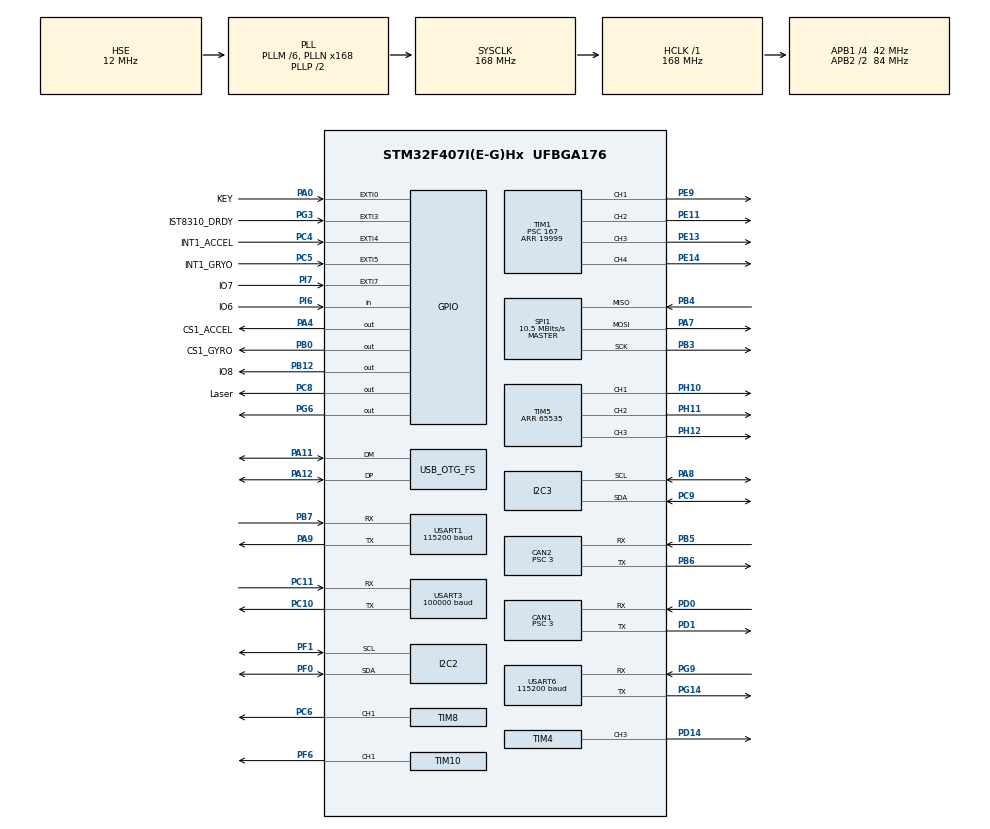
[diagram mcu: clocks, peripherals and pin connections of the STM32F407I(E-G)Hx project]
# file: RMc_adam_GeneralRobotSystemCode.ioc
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CAN1.BS1=CAN_BS1_10TQ
CAN1.BS2=CAN_BS2_3TQ
CAN1.CalculateBaudRate=1000000
CAN1.CalculateTimeBit=1000
CAN1.CalculateTimeQuantum=71.42857142857143
CAN1.Prescaler=3
CAN2.BS1=CAN_BS1_10TQ
CAN2.BS2=CAN_BS2_3TQ
CAN2.CalculateBaudRate=1000000
CAN2.CalculateTimeBit=1000
CAN2.CalculateTimeQuantum=71.42857142857143
CAN2.Prescaler=3
Dma.Request0=USART3_RX
Dma.Request1=USART1_RX
Dma.Request2=USART1_TX
Dma.Request3=SPI1_RX
Dma.Request4=SPI1_TX
Dma.Request5=USART6_RX
Dma.Request6=USART6_TX
Dma.SPI1_RX.3.Direction=DMA_PERIPH_TO_MEMORY
Dma.SPI1_RX.3.FIFOMode=DMA_FIFOMODE_DISABLE
Dma.SPI1_RX.3.Instance=DMA2_Stream0
Dma.SPI1_RX.3.MemDataAlignment=DMA_MDATAALIGN_BYTE
Dma.SPI1_RX.3.MemInc=DMA_MINC_ENABLE
Dma.SPI1_RX.3.Mode=DMA_NORMAL
Dma.SPI1_RX.3.PeriphDataAlignment=DMA_PDATAALIGN_BYTE
Dma.SPI1_RX.3.PeriphInc=DMA_PINC_DISABLE
Dma.SPI1_RX.3.Priority=DMA_PRIORITY_VERY_HIGH
Dma.SPI1_TX.4.Direction=DMA_MEMORY_TO_PERIPH
Dma.SPI1_TX.4.FIFOMode=DMA_FIFOMODE_DISABLE
Dma.SPI1_TX.4.Instance=DMA2_Stream3
Dma.SPI1_TX.4.MemDataAlignment=DMA_MDATAALIGN_BYTE
Dma.SPI1_TX.4.MemInc=DMA_MINC_ENABLE
Dma.SPI1_TX.4.Mode=DMA_NORMAL
Dma.SPI1_TX.4.PeriphDataAlignment=DMA_PDATAALIGN_BYTE
Dma.SPI1_TX.4.PeriphInc=DMA_PINC_DISABLE
Dma.SPI1_TX.4.Priority=DMA_PRIORITY_VERY_HIGH
Dma.USART1_RX.1.Direction=DMA_PERIPH_TO_MEMORY
Dma.USART1_RX.1.FIFOMode=DMA_FIFOMODE_DISABLE
Dma.USART1_RX.1.Instance=DMA2_Stream5
Dma.USART1_RX.1.MemDataAlignment=DMA_MDATAALIGN_BYTE
Dma.USART1_RX.1.MemInc=DMA_MINC_ENABLE
Dma.USART1_RX.1.Mode=DMA_NORMAL
Dma.USART1_RX.1.PeriphDataAlignment=DMA_PDATAALIGN_BYTE
Dma.USART1_RX.1.PeriphInc=DMA_PINC_DISABLE
Dma.USART1_RX.1.Priority=DMA_PRIORITY_MEDIUM
Dma.USART1_TX.2.Direction=DMA_MEMORY_TO_PERIPH
Dma.USART1_TX.2.FIFOMode=DMA_FIFOMODE_DISABLE
Dma.USART1_TX.2.Instance=DMA2_Stream7
Dma.USART1_TX.2.MemDataAlignment=DMA_MDATAALIGN_BYTE
Dma.USART1_TX.2.MemInc=DMA_MINC_ENABLE
Dma.USART1_TX.2.Mode=DMA_NORMAL
Dma.USART1_TX.2.PeriphDataAlignment=DMA_PDATAALIGN_BYTE
Dma.USART1_TX.2.PeriphInc=DMA_PINC_DISABLE
Dma.USART1_TX.2.Priority=DMA_PRIORITY_MEDIUM
Dma.USART3_RX.0.Direction=DMA_PERIPH_TO_MEMORY
Dma.USART3_RX.0.FIFOMode=DMA_FIFOMODE_DISABLE
Dma.USART3_RX.0.Instance=DMA1_Stream1
Dma.USART3_RX.0.MemDataAlignment=DMA_MDATAALIGN_BYTE
Dma.USART3_RX.0.MemInc=DMA_MINC_ENABLE
Dma.USART3_RX.0.Mode=DMA_CIRCULAR
Dma.USART3_RX.0.PeriphDataAlignment=DMA_PDATAALIGN_BYTE
Dma.USART3_RX.0.PeriphInc=DMA_PINC_DISABLE
Dma.USART3_RX.0.Priority=DMA_PRIORITY_VERY_HIGH
Dma.USART6_RX.5.Direction=DMA_PERIPH_TO_MEMORY
Dma.USART6_RX.5.FIFOMode=DMA_FIFOMODE_DISABLE
Dma.USART6_RX.5.Instance=DMA2_Stream2
Dma.USART6_RX.5.MemDataAlignment=DMA_MDATAALIGN_BYTE
Dma.USART6_RX.5.MemInc=DMA_MINC_ENABLE
Dma.USART6_RX.5.Mode=DMA_NORMAL
Dma.USART6_RX.5.PeriphDataAlignment=DMA_PDATAALIGN_BYTE
Dma.USART6_RX.5.PeriphInc=DMA_PINC_DISABLE
Dma.USART6_RX.5.Priority=DMA_PRIORITY_HIGH
Dma.USART6_TX.6.Direction=DMA_MEMORY_TO_PERIPH
Dma.USART6_TX.6.FIFOMode=DMA_FIFOMODE_DISABLE
Dma.USART6_TX.6.Instance=DMA2_Stream6
Dma.USART6_TX.6.MemDataAlignment=DMA_MDATAALIGN_BYTE
Dma.USART6_TX.6.MemInc=DMA_MINC_ENABLE
Dma.USART6_TX.6.Mode=DMA_NORMAL
Dma.USART6_TX.6.PeriphDataAlignment=DMA_PDATAALIGN_BYTE
Dma.USART6_TX.6.PeriphInc=DMA_PINC_DISABLE
Dma.USART6_TX.6.Priority=DMA_PRIORITY_HIGH
FREERTOS.Tasks01=Flash_LED_Task,8,128,Flash_LED_Task_callback,Default,NULL,Dynamic,NULL,NULL;CAN_sendTask,55,256,CAN_sendTask_callback,Default,NULL,Dynamic,NULL,NULL;RemoteTask,48,1024,RemoteTask_callback,Default,NULL,Dynamic,NULL,NULL;ChassisTask,16,512,ChassisTask_callback,Default,NULL,Dynamic,NULL,NULL;GimbalTask,48,128,GimbalTask_callback,Default,NULL,Dynamic,NULL,NULL;ErrorDetectTask,16,128,ErrorDetectTask_callback,Default,NULL,Dynamic,NULL,NULL;RefereeTask,16,1024,RefereeTask_callback,Default,NULL,Dynamic,NULL,NULL;UI_Refresh,8,256,UI_Refresh_callback,Default,NULL,Dynamic,NULL,NULL
FREERTOS.configENABLE_FPU=1
FREERTOS.configMAX_TASK_NAME_LEN=32
FREERTOS.configUSE_IDLE_HOOK=1
I2C2.I2C_Mode=I2C_Fast
I2C3.I2C_Mode=I2C_Fast
IWDG.Prescaler=IWDG_PRESCALER_16
Mcu.Family=STM32F4
Mcu.Name=STM32F407I(E-G)Hx
Mcu.Package=UFBGA176
NVIC.CAN1_RX0_IRQn=true\:5\:0\:false\:false\:true\:true\:true\:true\:true
NVIC.CAN2_RX0_IRQn=true\:5\:0\:false\:false\:true\:true\:true\:true\:true
NVIC.DMA1_Stream1_IRQn=true\:5\:0\:false\:false\:true\:true\:false\:true\:true
NVIC.DMA2_Stream0_IRQn=true\:5\:0\:false\:false\:true\:false\:false\:true\:true
NVIC.DMA2_Stream2_IRQn=true\:5\:0\:false\:false\:true\:false\:false\:true\:true
NVIC.DMA2_Stream3_IRQn=true\:5\:0\:false\:false\:true\:true\:false\:true\:true
NVIC.DMA2_Stream5_IRQn=true\:5\:0\:false\:false\:true\:false\:false\:true\:true
NVIC.DMA2_Stream6_IRQn=true\:5\:0\:false\:false\:true\:true\:false\:true\:true
NVIC.DMA2_Stream7_IRQn=true\:5\:0\:false\:false\:true\:true\:false\:true\:true
NVIC.EXTI0_IRQn=true\:5\:0\:false\:false\:true\:true\:true\:true\:true
NVIC.EXTI9_5_IRQn=true\:5\:0\:false\:false\:true\:true\:true\:true\:true
NVIC.OTG_FS_IRQn=true\:5\:0\:false\:false\:true\:true\:false\:true\:true
NVIC.PriorityGroup=NVIC_PRIORITYGROUP_4
NVIC.TIM2_IRQn=true\:15\:0\:false\:false\:true\:false\:false\:true\:true
NVIC.TIM8_TRG_COM_TIM14_IRQn=true\:5\:0\:false\:false\:true\:false\:true\:true\:true
NVIC.TIM8_UP_TIM13_IRQn=true\:5\:0\:false\:false\:true\:true\:true\:true\:true
NVIC.TimeBase=TIM2_IRQn
NVIC.TimeBaseIP=TIM2
NVIC.USART1_IRQn=true\:5\:0\:false\:false\:true\:false\:true\:true\:true
NVIC.USART3_IRQn=true\:5\:0\:false\:false\:true\:false\:true\:true\:true
NVIC.USART6_IRQn=true\:5\:0\:false\:false\:true\:true\:true\:true\:true
NVIC.WWDG_IRQn=true\:5\:0\:false\:false\:true\:true\:true\:true\:true
PA0-WKUP.GPIO_Label=KEY
PA0-WKUP.GPIO_ModeDefaultEXTI=GPIO_MODE_IT_RISING
PA0-WKUP.GPIO_PuPd=GPIO_PULLDOWN
PA0-WKUP.Signal=GPXTI0
PA11.Mode=Device_Only
PA11.Signal=USB_OTG_FS_DM
PA12.Mode=Device_Only
PA12.Signal=USB_OTG_FS_DP
PA13.Mode=Serial_Wire
PA13.Signal=SYS_JTMS-SWDIO
PA14.Mode=Serial_Wire
PA14.Signal=SYS_JTCK-SWCLK
PA4.GPIO_Label=CS1_ACCEL
PA4.GPIO_PuPd=GPIO_PULLUP
PA4.GPIO_Speed=GPIO_SPEED_FREQ_VERY_HIGH
PA4.PinState=GPIO_PIN_SET
PA4.Signal=GPIO_Output
PA7.Mode=Full_Duplex_Master
PA7.Signal=SPI1_MOSI
PA8.GPIO_Pu=GPIO_PULLUP
PA8.Mode=I2C
PA8.Signal=I2C3_SCL
PA9.Mode=Asynchronous
PA9.Signal=USART1_TX
PB0.GPIO_Label=CS1_GYRO
PB0.GPIO_PuPd=GPIO_PULLUP
PB0.GPIO_Speed=GPIO_SPEED_FREQ_VERY_HIGH
PB0.PinState=GPIO_PIN_SET
PB0.Signal=GPIO_Output
PB12.GPIO_Label=IO8
PB12.Signal=GPIO_Output
PB3.Mode=Full_Duplex_Master
PB3.Signal=SPI1_SCK
PB4.Mode=Full_Duplex_Master
PB4.Signal=SPI1_MISO
PB5.Mode=CAN_Activate
PB5.Signal=CAN2_RX
PB6.Mode=CAN_Activate
PB6.Signal=CAN2_TX
PB7.Mode=Asynchronous
PB7.Signal=USART1_RX
PC10.Mode=Asynchronous
PC10.Signal=USART3_TX
PC11.Mode=Asynchronous
PC11.Signal=USART3_RX
PC4.GPIO_Label=INT1_ACCEL
PC4.GPIO_PuPd=GPIO_PULLUP
PC4.Signal=GPXTI4
PC5.GPIO_Label=INT1_GRYO
PC5.GPIO_PuPd=GPIO_PULLUP
PC5.Signal=GPXTI5
PC6.Signal=S_TIM8_CH1
PC8.GPIO_Label=Laser
PC8.GPIO_PuPd=GPIO_PULLUP
PC8.PinState=GPIO_PIN_RESET
PC8.Signal=GPIO_Output
PC9.GPIO_Pu=GPIO_PULLUP
PC9.Mode=I2C
PC9.Signal=I2C3_SDA
PD0.Mode=CAN_Activate
PD0.Signal=CAN1_RX
PD1.Mode=CAN_Activate
PD1.Signal=CAN1_TX
PD14.Signal=S_TIM4_CH3
PE11.Signal=S_TIM1_CH2
PE13.Signal=S_TIM1_CH3
PE14.Signal=S_TIM1_CH4
PE9.Signal=S_TIM1_CH1
PF0.GPIO_Pu=GPIO_PULLUP
PF0.Mode=I2C
PF0.Signal=I2C2_SDA
PF1.GPIO_Pu=GPIO_PULLUP
PF1.Mode=I2C
PF1.Signal=I2C2_SCL
PF6.GPIO_PuPd=GPIO_PULLUP
PF6.GPIO_Speed=GPIO_SPEED_FREQ_MEDIUM
PF6.Signal=S_TIM10_CH1
PG14.Mode=Asynchronous
PG14.Signal=USART6_TX
PG3.GPIO_Label=IST8310_DRDY
PG3.GPIO_ModeDefaultEXTI=GPIO_MODE_IT_FALLING
PG3.GPIO_PuPd=GPIO_PULLUP
PG3.Signal=GPXTI3
PG6.Signal=GPIO_Output
PG9.Mode=Asynchronous
PG9.Signal=USART6_RX
PH0-OSC_IN.Mode=HSE-External-Oscillator
PH0-OSC_IN.Signal=RCC_OSC_IN
PH1-OSC_OUT.Mode=HSE-External-Oscillator
PH1-OSC_OUT.Signal=RCC_OSC_OUT
PH10.Signal=S_TIM5_CH1
PH11.Signal=S_TIM5_CH2
PH12.Signal=S_TIM5_CH3
PI6.GPIO_Label=IO6
PI6.Signal=GPIO_Input
PI7.GPIO_Label=IO7
PI7.GPIO_ModeDefaultEXTI=GPIO_MODE_IT_RISING
PI7.GPIO_PuPd=GPIO_PULLDOWN
PI7.Signal=GPXTI7
ProjectManager.HeapSize=0x5000
ProjectManager.StackSize=0x2500
ProjectManager.TargetToolchain=MDK-ARM V5
RCC.48MHZClocksFreq_Value=48000000
RCC.AHBFreq_Value=168000000
RCC.APB1CLKDivider=RCC_HCLK_DIV4
RCC.APB1Freq_Value=42000000
RCC.APB1TimFreq_Value=84000000
RCC.APB2CLKDivider=RCC_HCLK_DIV2
RCC.APB2Freq_Value=84000000
RCC.APB2TimFreq_Value=168000000
RCC.CortexFreq_Value=168000000
RCC.HCLKFreq_Value=168000000
RCC.HSE_VALUE=12000000
RCC.HSI_VALUE=16000000
RCC.LSE_VALUE=32768
RCC.PLLM=6
RCC.PLLN=168
RCC.PLLQ=7
RCC.SYSCLKFreq_VALUE=168000000
RCC.SYSCLKSource=RCC_SYSCLKSOURCE_PLLCLK
RCC.VCOOutputFreq_Value=336000000
SH.S_TIM10_CH1.0=TIM10_CH1,PWM Generation1 CH1
SH.S_TIM1_CH1.0=TIM1_CH1,PWM Generation1 CH1
SH.S_TIM1_CH2.0=TIM1_CH2,PWM Generation2 CH2
SH.S_TIM1_CH3.0=TIM1_CH3,PWM Generation3 CH3
SH.S_TIM1_CH4.0=TIM1_CH4,PWM Generation4 CH4
SH.S_TIM4_CH3.0=TIM4_CH3,PWM Generation3 CH3
SH.S_TIM5_CH1.0=TIM5_CH1,PWM Generation1 CH1
SH.S_TIM5_CH2.0=TIM5_CH2,PWM Generation2 CH2
SH.S_TIM5_CH3.0=TIM5_CH3,PWM Generation3 CH3
SH.S_TIM8_CH1.0=TIM8_CH1,PWM Generation1 CH1
SPI1.BaudRatePrescaler=SPI_BAUDRATEPRESCALER_8
SPI1.CLKPhase=SPI_PHASE_2EDGE
SPI1.CLKPolarity=SPI_POLARITY_HIGH
SPI1.CalculateBaudRate=10.5 MBits/s
SPI1.Direction=SPI_DIRECTION_2LINES
SPI1.Mode=SPI_MODE_MASTER
SPI1.VirtualType=VM_MASTER
TIM1.AutoReloadPreload=TIM_AUTORELOAD_PRELOAD_ENABLE
TIM1.Channel-PWM\ Generation1\ CH1=TIM_CHANNEL_1
TIM1.Channel-PWM\ Generation2\ CH2=TIM_CHANNEL_2
TIM1.Channel-PWM\ Generation3\ CH3=TIM_CHANNEL_3
TIM1.Channel-PWM\ Generation4\ CH4=TIM_CHANNEL_4
TIM1.Period=19999
TIM1.Prescaler=167
TIM1.Pulse-PWM\ Generation1\ CH1=2000
TIM1.Pulse-PWM\ Generation2\ CH2=2000
TIM1.Pulse-PWM\ Generation3\ CH3=2000
TIM1.Pulse-PWM\ Generation4\ CH4=2000
TIM10.Channel=TIM_CHANNEL_1
TIM10.OC1Preload_PWM=ENABLE
TIM10.Period=5000-1
TIM13.AutoReloadPreload=TIM_AUTORELOAD_PRELOAD_ENABLE
TIM13.Period=100-1
TIM13.Prescaler=840-1
TIM14.AutoReloadPreload=TIM_AUTORELOAD_PRELOAD_ENABLE
TIM14.Period=500-1
TIM14.Prescaler=840-1
TIM4.Channel-PWM\ Generation3\ CH3=TIM_CHANNEL_3
TIM5.Channel-PWM\ Generation1\ CH1=TIM_CHANNEL_1
TIM5.Channel-PWM\ Generation2\ CH2=TIM_CHANNEL_2
TIM5.Channel-PWM\ Generation3\ CH3=TIM_CHANNEL_3
TIM5.OC3Preload_PWM=ENABLE
TIM5.Period=65535
TIM5.Pulse-PWM\ Generation1\ CH1=10000
TIM5.Pulse-PWM\ Generation2\ CH2=10000
TIM5.Pulse-PWM\ Generation3\ CH3=10000
TIM8.AutoReloadPreload=TIM_AUTORELOAD_PRELOAD_ENABLE
TIM8.Channel-PWM\ Generation1\ CH1=TIM_CHANNEL_1
TIM8.Period=19999
TIM8.Prescaler=167
TIM8.Pulse-PWM\ Generation1\ CH1=2000
USART1.BaudRate=115200
USART1.VirtualMode=VM_ASYNC
USART3.BaudRate=100000
USART3.Mode=MODE_TX_RX
USART3.VirtualMode=VM_ASYNC
USART6.BaudRate=115200
USART6.VirtualMode=VM_ASYNC
USB_DEVICE.CLASS_NAME_FS=CDC
USB_DEVICE.CONFIGURATION_STRING_CDC_FS=CDC config
USB_DEVICE.INTERFACE_STRING_CDC_FS=sethome
USB_DEVICE.PRODUCT_STRING_CDC_FS=Robomaster Adam
USB_DEVICE.VirtualMode-CDC_FS=Cdc
USB_DEVICE.VirtualModeFS=Cdc_FS
USB_OTG_FS.VirtualMode=Device_Only
VP_CRC_VS_CRC.Mode=CRC_Activate
VP_FREERTOS_VS_CMSIS_V2.Mode=CMSIS_V2
VP_IWDG_VS_IWDG.Mode=IWDG_Activate
VP_SYS_VS_tim2.Mode=TIM2
VP_TIM10_VS_ClockSourceINT.Mode=Enable_Timer
VP_TIM13_VS_ClockSourceINT.Mode=Enable_Timer
VP_TIM14_VS_ClockSourceINT.Mode=Enable_Timer
VP_TIM1_VS_ClockSourceINT.Mode=Internal
VP_TIM4_VS_ClockSourceINT.Mode=Internal
VP_TIM5_VS_ClockSourceINT.Mode=Internal
VP_TIM6_VS_ClockSourceINT.Mode=Enable_Timer
VP_TIM8_VS_ClockSourceINT.Mode=Internal
VP_USB_DEVICE_VS_USB_DEVICE_CDC_FS.Mode=CDC_FS
VP_WWDG_VS_WWDG.Mode=WWDG_Activate
WWDG.Counter=127
WWDG.EWIMode=WWDG_EWI_ENABLE
WWDG.Prescaler=WWDG_PRESCALER_8
WWDG.Window=126
board=custom

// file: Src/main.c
/* USER CODE BEGIN Header */
/**
 ******************************************************************************
 * @file           : main.c
 * @brief          : Main program body
 ******************************************************************************
 * @attention
 *
 * <h2><center>&copy; Copyright (c) 2019 STMicroelectronics.
 * All rights reserved.</center></h2>
 *
 * This software component is licensed by ST under BSD 3-Clause license,
 * the "License"; You may not use this file except in compliance with the
 * License. You may obtain a copy of the License at:
 *                        opensource.org/licenses/BSD-3-Clause
 *
 ******************************************************************************
 */
/* USER CODE END Header */
#include "main.h"
#include "cmsis_os.h"
#include "can.h"
#include "crc.h"
#include "dma.h"
#include "i2c.h"
#include "iwdg.h"
#include "spi.h"
#include "tim.h"
#include "usart.h"
#include "usb_device.h"
#include "wwdg.h"
#include "gpio.h"

/* USER CODE BEGIN Includes */
#include "CAN_receive&send.h"
#include "DBUS_remote_control.h"
#include "LED_control.h"
#include "PWM_control.h"
#include "IMU_updata.h"
#include "UART_data_transmit.h"
#include "NUC_communication.h"

#include "USB_VirCom.h"
#include "time.h"
#include "stdio.h"
#include "Laser.h"

#include "chassis_move.h"
#include "gimbal.h"

#include "shoot.h"
#include "Error_detect.h"
#include "Global_status.h"
#include "ui.h"
/* USER CODE END Includes */

/* USER CODE BEGIN PTD */
uint8_t tset_nums2 =1;
/* USER CODE END PTD */

/* USER CODE BEGIN PV */
unsigned int num;

/* USER CODE END PV */

void SystemClock_Config(void);
void MX_FREERTOS_Init(void);

int main(void)
{

  /* MCU Configuration--------------------------------------------------------*/

  /* Reset of all peripherals, Initializes the Flash interface and the Systick. */
  HAL_Init();

  /* USER CODE BEGIN Init */

	HAL_Delay(100);

  /* USER CODE END Init */

  /* Configure the system clock */
  SystemClock_Config();

  /* Initialize all configured peripherals */
  MX_GPIO_Init();
  MX_DMA_Init();
  MX_CAN1_Init();
  MX_CAN2_Init();
  MX_USART3_UART_Init();
  MX_USART1_UART_Init();
  MX_TIM5_Init();
  MX_TIM1_Init();
  MX_SPI1_Init();
  MX_TIM10_Init();
  MX_I2C3_Init();
  MX_TIM14_Init();
  MX_USART6_UART_Init();
  MX_I2C2_Init();
  MX_TIM8_Init();
  MX_CRC_Init();
  MX_TIM13_Init();
  MX_TIM4_Init();
  MX_IWDG_Init();
  MX_TIM6_Init();
  //MX_WWDG_Init();
  /* USER CODE BEGIN 2 */

  // 初始化各项应用
  led_init();       // LED
  led_show(RED); // 初始化指示
  //目前使用来激活相机图传
  HAL_GPIO_WritePin(Laser_GPIO_Port, Laser_Pin, GPIO_PIN_SET);	// Laser_init();
//  HAL_WWDG_Refresh(&hwwdg);
  // 初始化硬件
  can_filter_init();        // can 过滤器
  remote_control_init();    // 遥控器初始化
  PWM_servo_control_init(); // PWM
  IMU_init();            // IMU 加速度计，陀螺仪，地磁计
  uart_init();           // 初始化串口

	// 初始化软件
  chassis_move_init();       // 初始化底盘
  gimbal_init();             // 初始化云台
  gimbal_set_offset(0.0f,24.60f,-10.0f,-46.2f);
  shoot_init();        // 初始化发射机构

  Error_detect_init(); // 初始化错误检测
  referee_usart_task_init(); // 裁判系统解算
  ui_init();
  Kalman_Init();

  led_show(GREEN);     // 初始化完毕
  Global.mode=FLOW;
	Global.input.shoot_num=1;

  /* USER CODE END 2 */

  /* Init scheduler */
  osKernelInitialize();

  /* Call init function for freertos objects (in cmsis_os2.c) */
  MX_FREERTOS_Init();

  /* Start scheduler */
  osKernelStart();

  /* We should never get here as control is now taken by the scheduler */

  /* Infinite loop */
  while (1)
  {
  }

}

void SystemClock_Config(void)
{
  RCC_OscInitTypeDef RCC_OscInitStruct = {0};
  RCC_ClkInitTypeDef RCC_ClkInitStruct = {0};

  /** Configure the main internal regulator output voltage
  */
  __HAL_RCC_PWR_CLK_ENABLE();
  __HAL_PWR_VOLTAGESCALING_CONFIG(PWR_REGULATOR_VOLTAGE_SCALE1);

  /** Initializes the RCC Oscillators according to the specified parameters
  * in the RCC_OscInitTypeDef structure.
  */
  RCC_OscInitStruct.OscillatorType = RCC_OSCILLATORTYPE_LSI|RCC_OSCILLATORTYPE_HSE;
  RCC_OscInitStruct.HSEState = RCC_HSE_ON;
  RCC_OscInitStruct.LSIState = RCC_LSI_ON;
  RCC_OscInitStruct.PLL.PLLState = RCC_PLL_ON;
  RCC_OscInitStruct.PLL.PLLSource = RCC_PLLSOURCE_HSE;
  RCC_OscInitStruct.PLL.PLLM = 6;
  RCC_OscInitStruct.PLL.PLLN = 168;
  RCC_OscInitStruct.PLL.PLLP = RCC_PLLP_DIV2;
  RCC_OscInitStruct.PLL.PLLQ = 7;
  if (HAL_RCC_OscConfig(&RCC_OscInitStruct) != HAL_OK)
  {
    Error_Handler();
  }

  /** Initializes the CPU, AHB and APB buses clocks
  */
  RCC_ClkInitStruct.ClockType = RCC_CLOCKTYPE_HCLK|RCC_CLOCKTYPE_SYSCLK
                              |RCC_CLOCKTYPE_PCLK1|RCC_CLOCKTYPE_PCLK2;
  RCC_ClkInitStruct.SYSCLKSource = RCC_SYSCLKSOURCE_PLLCLK;
  RCC_ClkInitStruct.AHBCLKDivider = RCC_SYSCLK_DIV1;
  RCC_ClkInitStruct.APB1CLKDivider = RCC_HCLK_DIV4;
  RCC_ClkInitStruct.APB2CLKDivider = RCC_HCLK_DIV2;

  if (HAL_RCC_ClockConfig(&RCC_ClkInitStruct, FLASH_LATENCY_5) != HAL_OK)
  {
    Error_Handler();
  }
}

void HAL_TIM_PeriodElapsedCallback(TIM_HandleTypeDef *htim)
{
  /* USER CODE BEGIN Callback 0 */
  static bool one_hz_flag;
  /* USER CODE END Callback 0 */
  if (htim->Instance == TIM2) {
    HAL_IncTick();
  }
  /* USER CODE BEGIN Callback 1 */
  if (htim->Instance == TIM13) // 1000HZ
  {
    IMU_updata();

  }
  else if (htim->Instance == TIM14) // 200HZ
  {

    //在这里进行nuc数据发送
		  if(one_hz_flag==1)
		  {
			board_to_nuc(tset_nums2);
			HAL_GPIO_WritePin(Laser_GPIO_Port, Laser_Pin, GPIO_PIN_SET);
			one_hz_flag=0;
		  }
		  else
		  {
			HAL_GPIO_WritePin(Laser_GPIO_Port, Laser_Pin, GPIO_PIN_RESET);
			one_hz_flag= 1;
		  }

//  IMU_offest();

//		HAL_GPIO_TogglePin(Laser_GPIO_Port, Laser_Pin);
//		board_to_nuc(tset_nums2);

  }

  /* USER CODE END Callback 1 */
}

void Error_Handler(void)
{
}

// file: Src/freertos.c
/* USER CODE BEGIN Header */
/**
 ******************************************************************************
 * File Name          : freertos.c
 * Description        : Code for freertos applications
 ******************************************************************************
 * @attention
 *
 * <h2><center>&copy; Copyright (c) 2020 STMicroelectronics.
 * All rights reserved.</center></h2>
 *
 * This software component is licensed by ST under Ultimate Liberty license
 * SLA0044, the "License"; You may not use this file except in compliance with
 * the License. You may obtain a copy of the License at:
 *                             www.st.com/SLA0044
 *
 ******************************************************************************
 */
/* USER CODE END Header */

#include "FreeRTOS.h"
#include "task.h"
#include "main.h"
#include "cmsis_os.h"

/* USER CODE BEGIN Includes */
#include "usbd_cdc_if.h"
#include "CAN_receive&send.h"
#include "DBUS_remote_control.h"
#include "LED_control.h"
#include "IMU_updata.h"
#include "PWM_control.h"
#include "Stm32_time.h"
#include "string.h"

#include "chassis_move.h" //普通底盘
#include "gimbal.h"
#include "shoot.h"
#include "math.h"

#include "USB_VirCom.h"

#include "Global_status.h"
#include "Error_detect.h"
#include "NUC_communication.h"

#include "cap_ctl.h"
#include "referee_handle_pack.h"
#include "referee_usart_task.h"
#include "fifo.h"
#include "AHRS_MiddleWare.h"
#include "CAN_receive&send.h"
#include "Laser.h"
#include "ui.h"

#include "control_setting.h"
#include "vofa.h"

#include "wwdg.h"
#include "stm32f4xx_hal_wwdg.h"

/* USER CODE END Includes */

/* USER CODE BEGIN Variables */

extern struct IMU_t IMU_data;
extern uint8_t coverop;
extern pid_t motor_speed[4];
extern float relative_angle;

/* USER CODE END Variables */
/* Definitions for Flash_LED_Task */
osThreadId_t Flash_LED_TaskHandle;
const osThreadAttr_t Flash_LED_Task_attributes = {
    .name = "Flash_LED_Task",
    .stack_size = 128 * 4,
    .priority = (osPriority_t)osPriorityLow,
};
/* Definitions for CAN_sendTask */
osThreadId_t CAN_sendTaskHandle;
const osThreadAttr_t CAN_sendTask_attributes = {
    .name = "CAN_sendTask",
    .stack_size = 256 * 4,
    .priority = (osPriority_t)osPriorityRealtime7,
};
/* Definitions for RemoteTask */
osThreadId_t RemoteTaskHandle;
const osThreadAttr_t RemoteTask_attributes = {
    .name = "RemoteTask",
    .stack_size = 1024 * 4,
    .priority = (osPriority_t)osPriorityRealtime,
};
/* Definitions for ChassisTask */
osThreadId_t ChassisTaskHandle;
const osThreadAttr_t ChassisTask_attributes = {
    .name = "ChassisTask",
    .stack_size = 512 * 4,
    .priority = (osPriority_t)osPriorityBelowNormal,
};
/* Definitions for GimbalTask */
osThreadId_t GimbalTaskHandle;
const osThreadAttr_t GimbalTask_attributes = {
    .name = "GimbalTask",
    .stack_size = 128 * 4,
    .priority = (osPriority_t)osPriorityRealtime,
};
/* Definitions for ErrorDetectTask */
osThreadId_t ErrorDetectTaskHandle;
const osThreadAttr_t ErrorDetectTask_attributes = {
    .name = "ErrorDetectTask",
    .stack_size = 128 * 4,
    .priority = (osPriority_t)osPriorityBelowNormal,
};
/* Definitions for RefereeTask */
osThreadId_t RefereeTaskHandle;
const osThreadAttr_t RefereeTask_attributes = {
    .name = "RefereeTask",
    .stack_size = 1024 * 4,
    .priority = (osPriority_t)osPriorityBelowNormal,
};
/* Definitions for UI_Refresh */
osThreadId_t UI_RefreshHandle;
const osThreadAttr_t UI_Refresh_attributes = {
    .name = "UI_Refresh",
    .stack_size = 256 * 4,
    .priority = (osPriority_t)osPriorityLow,
};

void Flash_LED_Task_callback(void *argument);
void CAN_sendTask_callback(void *argument);
void RemoteTask_callback(void *argument);
void ChassisTask_callback(void *argument);
void GimbalTask_callback(void *argument);
void ErrorDetectTask_callback(void *argument);
void RefereeTask_callback(void *argument);
void UI_Refresh_callback(void *argument);

extern void MX_USB_DEVICE_Init(void);
void MX_FREERTOS_Init(void); /* (MISRA C 2004 rule 8.1) */

/* Hook prototypes */
void vApplicationIdleHook(void);

/* USER CODE BEGIN 2 */
void vApplicationIdleHook(void)
{
  /* vApplicationIdleHook() will only be called if configUSE_IDLE_HOOK is set
  to 1 in FreeRTOSConfig.h. It will be called on each iteration of the idle
  task. It is essential that code added to this hook function never attempts
  to block in any way (for example, call xQueueReceive() with a block time
  specified, or call vTaskDelay()). If the application makes use of the
  vTaskDelete() API function (as this demo application does) then it is also
  important that vApplicationIdleHook() is permitted to return to its calling
  function, because it is the responsibility of the idle task to clean up
  memory allocated by the kernel to any task that has since been deleted. */
}
/* USER CODE END 2 */

void MX_FREERTOS_Init(void)
{

  /* Create the thread(s) */
  /* creation of Flash_LED_Task */
  Flash_LED_TaskHandle = osThreadNew(Flash_LED_Task_callback, NULL, &Flash_LED_Task_attributes);

  /* creation of CAN_sendTask */
  CAN_sendTaskHandle = osThreadNew(CAN_sendTask_callback, NULL, &CAN_sendTask_attributes);

  /* creation of RemoteTask */
  RemoteTaskHandle = osThreadNew(RemoteTask_callback, NULL, &RemoteTask_attributes);

  /* creation of ChassisTask */
  ChassisTaskHandle = osThreadNew(ChassisTask_callback, NULL, &ChassisTask_attributes);

  /* creation of GimbalTask */
  GimbalTaskHandle = osThreadNew(GimbalTask_callback, NULL, &GimbalTask_attributes);

  /* creation of ErrorDetectTask */
  ErrorDetectTaskHandle = osThreadNew(ErrorDetectTask_callback, NULL, &ErrorDetectTask_attributes);

  /* creation of RefereeTask */
  RefereeTaskHandle = osThreadNew(RefereeTask_callback, NULL, &RefereeTask_attributes);

  /* creation of UI_Refresh */
  UI_RefreshHandle = osThreadNew(UI_Refresh_callback, NULL, &UI_Refresh_attributes);

}

void Flash_LED_Task_callback(void *argument)
{
  /* init code for USB_DEVICE */
  MX_USB_DEVICE_Init();
  /* USER CODE BEGIN Flash_LED_Task_callback */
  /* Infinite loop */
  for (;;)
  {
    led_show(GREEN);
    osDelay(500);
    led_show(RED);
    osDelay(500);
    led_show(BLUE);
    osDelay(500);
  }
  /* USER CODE END Flash_LED_Task_callback */
}

void CAN_sendTask_callback(void *argument)
{
  /* USER CODE BEGIN CAN_sendTask_callback */
  MX_WWDG_Init(); // 窗口看门狗
  /* Infinite loop */
  for (;;)
  {
    if (Global.mode == LOCK)
    {
      CAN1_send_ZERO_current();
      CAN2_send_ZER0_current();
    } // 发送电机控制电流		}
    else
    {
      CAN1_send_current();
      CAN2_send_current();
    }
    osDelay(5);
    HAL_WWDG_Refresh(&hwwdg);
  }
  /* USER CODE END CAN_sendTask_callback */
}

void RemoteTask_callback(void *argument)
{
  /* USER CODE BEGIN RemoteTask_callback */
  /* Infinite loop */
  for (;;)
  {
    remote_control_task();

    osDelay(1);
  }
  /* USER CODE END RemoteTask_callback */
}

void ChassisTask_callback(void *argument)
{
  /* USER CODE BEGIN ChassisTask_callback */

  /* Infinite loop */
  for (;;)
  {
    chassis_moto_speed_current_calc();
    if (Global.mode == FLOW)
      chassis_Flow_mode();
    else if (Global.mode == SPIN)
      chassis_Spin_mode();
    osDelay(5);
  }
  /* USER CODE END ChassisTask_callback */
}

void GimbalTask_callback(void *argument)
{
  /* USER CODE BEGIN GimbalTask_callback */
  /* Infinite loop */

  for (;;)
  {
    /* 云台控制 */
    gimbal_updata();
    gimbal_pid_cal();
    /* 发射机构控制 */
    shoot_pid_cal();
    shoot_update();
    shoot_speed_limit();
    osDelay(1);
  }
  /* USER CODE END GimbalTask_callback */
}

void ErrorDetectTask_callback(void *argument)
{
  /* USER CODE BEGIN ErrorDetectTask_callback */
  /* Infinite loop */
  for (;;)
  {
    Error_detect_flush();
    osDelay(100);
  }
  /* USER CODE END ErrorDetectTask_callback */
}

/* USER CODE BEGIN Header_RefereeTask_callback */
/**
 * @brief 读取裁判系统相关信息，还有ui发送任务.
 * @param argument: Not used
 * @retval None
 */
/* USER CODE END Header_RefereeTask_callback */
void RefereeTask_callback(void *argument)
{
  /* USER CODE BEGIN RefereeTask_callback */

  /* Infinite loop */
  for (;;)
  {
    referee_usart_task();
    Required_Data();
    Cap_Required_Data();
    cap_update();

    osDelay(10);
  }
  /* USER CODE END RefereeTask_callback */
}

void UI_Refresh_callback(void *argument)
{
  /* USER CODE BEGIN UI_Refresh_callback */
  /* Infinite loop */
  for (;;)
  {
    if (Global.input.ui_init == 1)
    {
      ui_init();
      Global.input.ui_init = 0;
    }
    ui_supercap(cap.remain_vol);
    char_change();
    ui_chassis(relative_angle);
    ui_auto(fromNUC.shoot);
    ui_chassisline();
    ui_WarningLight();
    ui_Spin();

    osDelay(1);
    ui_updata();
  }
  /* USER CODE END UI_Refresh_callback */
}
